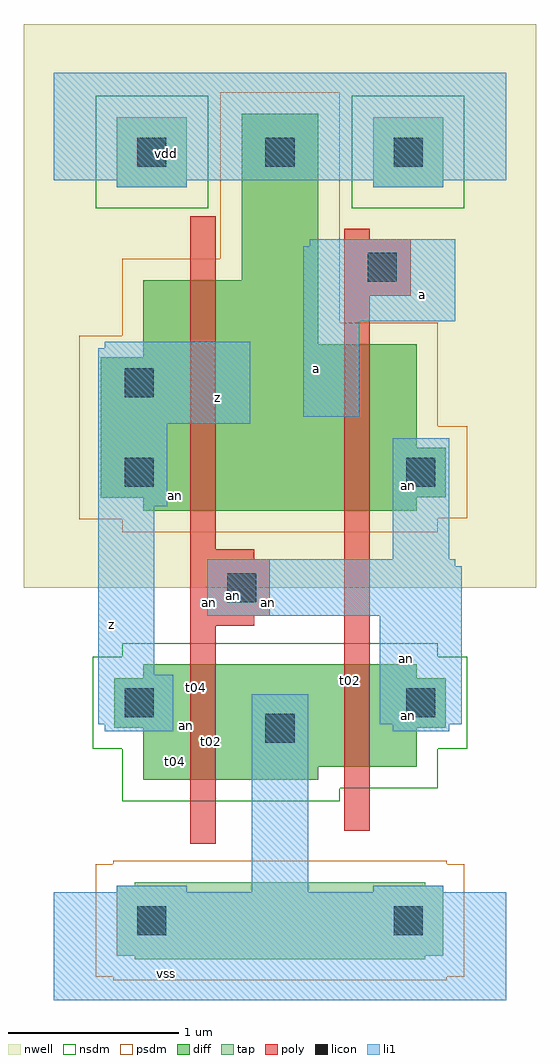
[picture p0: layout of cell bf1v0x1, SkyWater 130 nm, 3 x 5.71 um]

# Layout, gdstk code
import gdstk
lib = gdstk.Library(unit=1e-6, precision=5e-09)
def R(c, l, rs):  # rectangles x0, y0, x1, y1
    for r in rs: c.add(gdstk.rectangle(r[:2], r[2:], *l))
def A(c, l, x, y, w, h, nx, ny, dx, dy):  # array of equal rectangles
    R(c, l, [(x+i*dx, y+j*dy, x+i*dx+w, y+j*dy+h) for i in range(nx) for j in range(ny)])
nwell = (64, 20)
diff = (65, 20)
tap = (65, 44)
poly = (66, 20)
licon = (66, 44)
li1 = (67, 20)
nsdm = (93, 44)
psdm = (94, 20)

bf1v0x1 = lib.new_cell('bf1v0x1')
R(bf1v0x1, nwell, [(-0.3,2.4,2.7,5.7)])
R(bf1v0x1, diff, [(0.4,1.275,1.425,1.95), (0.4,1.35,2,1.95), (0.23,1.58,2.17,1.87), (0.4,2.85,1.425,4.2), (0.4,2.85,2,3.825), (0.975,2.85,1.425,5.175), (0.15,2.925,2,3.75), (0.15,2.93,2.17,3.22)])
R(bf1v0x1, tap, [(0.35,0.225,2.05,0.675), (0.245,0.245,2.155,0.655), (0.245,4.745,0.655,5.155), (1.745,4.745,2.155,5.155)])
R(bf1v0x1, poly, [(0.675,0.9,0.825,4.575), (1.575,0.975,1.725,4.5), (0.675,2.175,1.05,2.625), (0.675,2.235,1.14,2.565), (1.575,4.11,1.965,4.44)])
A(bf1v0x1, licon, 0.365, 4.865, 0.17, 0.17, 3, 1, 0.75, 0)
R(bf1v0x1, licon, [(0.365,0.365,0.535,0.535), (1.865,0.365,2.035,0.535), (1.115,1.49,1.285,1.66), (0.29,1.64,0.46,1.81), (1.94,1.64,2.11,1.81), (0.89,2.315,1.06,2.485), (0.29,2.99,0.46,3.16), (1.94,2.99,2.11,3.16), (0.29,3.515,0.46,3.685), (1.715,4.19,1.885,4.36)])
R(bf1v0x1, li1, [(-0.125,-0.015,2.525,0.615), (-0.125,-0.015,2.525,0.615), (0.245,-0.015,0.655,0.655), (1.035,-0.015,1.365,1.775), (1.745,-0.015,2.155,0.655), (0.175,1.56,0.575,1.89), (0.175,1.56,0.465,3.84), (1.86,1.56,2.19,3.275), (0.135,1.6,0.575,1.89), (0.135,1.6,0.465,3.8), (1.785,1.6,2.225,2.565), (1.785,1.6,2.225,2.565), (1.785,1.6,2.265,2.525), (0.135,1.675,0.465,3.725), (0.775,2.235,2.265,2.525), (0.775,2.235,2.265,2.525), (0.775,2.235,2.225,2.565), (0.135,2.875,0.54,3.8), (0.175,2.875,0.54,3.84), (0.135,3.36,1.025,3.8), (0.175,3.36,1.025,3.84), (1.335,3.4,1.665,4.4), (1.375,3.4,1.665,4.44), (1.375,3.4,1.665,4.44), (0.775,3.435,1.025,3.765), (1.335,3.475,1.665,4.325), (1.335,3.96,2.225,4.4), (1.375,3.96,2.225,4.44), (1.975,4.035,2.225,4.365), (0.245,4.745,0.655,5.415), (1.745,4.745,2.155,5.415), (-0.125,4.785,2.525,5.415), (-0.125,4.785,2.525,5.415)])
R(bf1v0x1, nsdm, [(0.275,1.15,1.55,2.075), (0.275,1.225,2.125,2.075), (0.975,1.275,1.425,1.95), (0.975,1.275,1.425,1.95), (1.055,1.43,1.345,1.72), (0.105,1.455,2.295,1.995), (0.23,1.58,0.52,1.87), (1.88,1.58,2.17,1.87), (0.12,4.62,0.78,5.28), (1.62,4.62,2.28,5.28)])
R(bf1v0x1, psdm, [(0.225,0.1,2.175,0.8), (0.12,0.12,2.28,0.78), (0.275,2.725,2.125,3.95), (0.275,2.725,1.55,4.325), (0.85,2.725,1.55,5.3), (0.025,2.8,2.125,3.875), (0.025,2.805,2.295,3.345), (0.975,2.85,1.425,5.175), (0.975,2.85,1.425,5.175), (0.15,2.925,0.6,3.75), (0.15,2.925,0.6,3.75), (0.23,2.93,0.52,3.22), (1.88,2.93,2.17,3.22), (0.23,3.455,0.52,3.745), (1.055,4.805,1.345,5.095)])
bf1v0x1.add(gdstk.Label('an', (0.65,1.59), layer=93, texttype=44))
bf1v0x1.add(gdstk.Label('t04', (0.59,1.38), layer=93, texttype=44))
bf1v0x1.add(gdstk.Label('an', (0.59,2.94), layer=94, texttype=20))
bf1v0x1.add(gdstk.Label('t02', (0.8,1.5), layer=65, texttype=20))
bf1v0x1.add(gdstk.Label('an', (0.715,1.65), layer=65, texttype=20))
bf1v0x1.add(gdstk.Label('an', (0.655,3), layer=65, texttype=20))
bf1v0x1.add(gdstk.Label('an', (1.95,1.65), layer=93, texttype=44))
bf1v0x1.add(gdstk.Label('an', (1.95,3), layer=94, texttype=20))
bf1v0x1.add(gdstk.Label('t04', (0.71,1.815), layer=66, texttype=20))
bf1v0x1.add(gdstk.Label('an', (0.79,2.315), layer=66, texttype=20))
bf1v0x1.add(gdstk.Label('t02', (1.61,1.855), layer=66, texttype=20))
bf1v0x1.add(gdstk.Label('an', (1.98,3.03), layer=66, texttype=44))
bf1v0x1.add(gdstk.Label('an', (1.98,1.68), layer=66, texttype=44))
bf1v0x1.add(gdstk.Label('an', (0.93,2.355), layer=66, texttype=44))
bf1v0x1.add(gdstk.Label('z', (0.215,2.185), layer=67, texttype=20))
bf1v0x1.add(gdstk.Label('z', (0.835,3.515), layer=67, texttype=20))
bf1v0x1.add(gdstk.Label('a', (1.415,3.685), layer=67, texttype=20))
bf1v0x1.add(gdstk.Label('vss', (0.535,0.14), layer=67, texttype=20))
bf1v0x1.add(gdstk.Label('an', (1.135,2.315), layer=67, texttype=20))
bf1v0x1.add(gdstk.Label('an', (1.94,1.985), layer=67, texttype=20))
bf1v0x1.add(gdstk.Label('a', (2.035,4.115), layer=67, texttype=20))
bf1v0x1.add(gdstk.Label('vdd', (0.535,4.94), layer=67, texttype=20))

lib.write_gds('bf1v0x1.gds')
